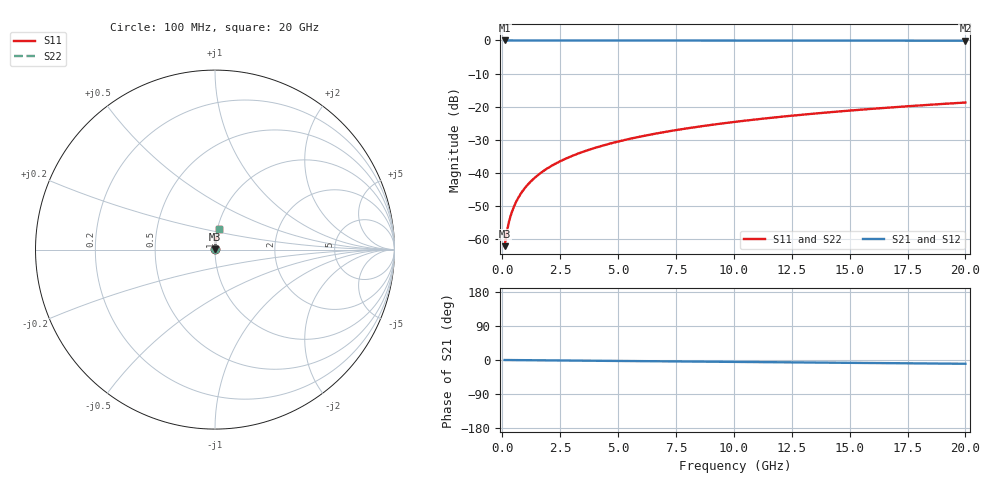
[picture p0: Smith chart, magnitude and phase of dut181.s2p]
! Touchstone file exported from HFSS 2026.1.0
!  File:  C:/ffzhzh/LocalFiles/Ansys_Project_Files/temp_train_TSV_181_1782991282_40604.aedt
!  Generated:  07:23:35 PM Jul  2, 2026
!  Design:  TSV
!  Project:  temp_train_TSV_181_1782991282_40604
! Variables:
!  h_bsmrdl = 2um
!  h_ox = 20um
!  h_rdl = 5um
!  h_sub = 64.74um
!  h_tmrdl = 5um
!  h_tsv = 64.74um
!  h_via = 3um
!  l_bsmrdl = 300um
!  l_sub = 408.06um
!  l_tmrdl = 200um
!  m_sub = 200um
!  pitch = 59.81um
!  r_tsv = 4.03um
!  s_tmrdl = 10um
!  w_bsmrdl = 18um
!  w_sub = 500um
!  w_tmrdl = 12um
!  x_tsv_center1 = 206um
!  x_tsv_center2 = 524um
!  x_tsv_center3 = 736um
!  x_tsv_center4 = 1054um
!  x_tsv_center5 = 1266um
!  x_tsv_center6 = 1584um
# GHz S MA R 50.000000
! Terminal data exported
! Port[1] = TSV1_1_T1
! Port[2] = TSV1_1_T2
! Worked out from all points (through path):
!   200 points, 100 MHz to 20 GHz, reference 50 ohm
!   highest |S21| = 0.00 dB at 100 MHz (marker M1); lowest = -0.1 dB at 20 GHz (marker M2)
!   group delay of S21, straight-line fit = 1.38 ps
!   lowest |S11| = -62.1 dB at 100 MHz (marker M3), VSWR 1.00, Z = 50 + j0.0616 ohm
!   |S11| at or under -10 dB: start of sweep to end of sweep
!   |S22| runs from -62.1 to -18.7 dB; largest |S21 - S12| = 4.5e-15
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0.1  0.000785 51.6  0.9995 -0.1  0.9995 -0.1  0.000785 51.6
! Gamma 0 0 0 0
! Port Impedance 50 0 50 0
0.2  0.001323 67.9  0.9995 -0.1  0.9995 -0.1  0.001323 67.9
0.3  0.001903 74.4  0.9995 -0.2  0.9995 -0.2  0.001903 74.4
0.4  0.002491 77.8  0.9995 -0.2  0.9995 -0.2  0.002491 77.8
0.5  0.003084 79.9  0.9995 -0.3  0.9995 -0.3  0.003084 79.9
0.7  0.004274 82.4  0.9994 -0.4  0.9994 -0.4  0.004274 82.4
0.8  0.00487 83.1  0.9994 -0.4  0.9994 -0.4  0.00487 83.1
1  0.006064 84.2  0.9994 -0.5  0.9994 -0.5  0.006064 84.2
1.2  0.00726 84.8  0.9994 -0.6  0.9994 -0.6  0.00726 84.8
1.4  0.008456 85.3  0.9994 -0.7  0.9994 -0.7  0.008456 85.3
1.7  0.01025 85.7  0.9993 -0.9  0.9993 -0.9  0.01025 85.7
2  0.01204 85.9  0.9993 -1.0  0.9993 -1.0  0.01204 85.9
2.7  0.01621 86.1  0.9991 -1.4  0.9991 -1.4  0.01621 86.1
3.5  0.02095 86.0  0.999 -1.8  0.999 -1.8  0.02095 86.0
4.2  0.02508 85.8  0.9988 -2.1  0.9988 -2.1  0.02508 85.8
5  0.02978 85.5  0.9986 -2.5  0.9986 -2.5  0.02978 85.5
6.8  0.04027 84.8  0.998 -3.4  0.998 -3.4  0.04027 84.8
8.3  0.04896 84.2  0.9974 -4.2  0.9974 -4.2  0.04896 84.2
10.1  0.05934 83.5  0.9967 -5.1  0.9967 -5.1  0.05934 83.5
13.4  0.07826 82.0  0.9952 -6.7  0.9952 -6.7  0.07826 82.0
16.7  0.09702 80.5  0.9934 -8.3  0.9934 -8.3  0.09702 80.5
20  0.1156 79.0  0.9912 -9.9  0.9912 -9.9  0.1156 79.0
